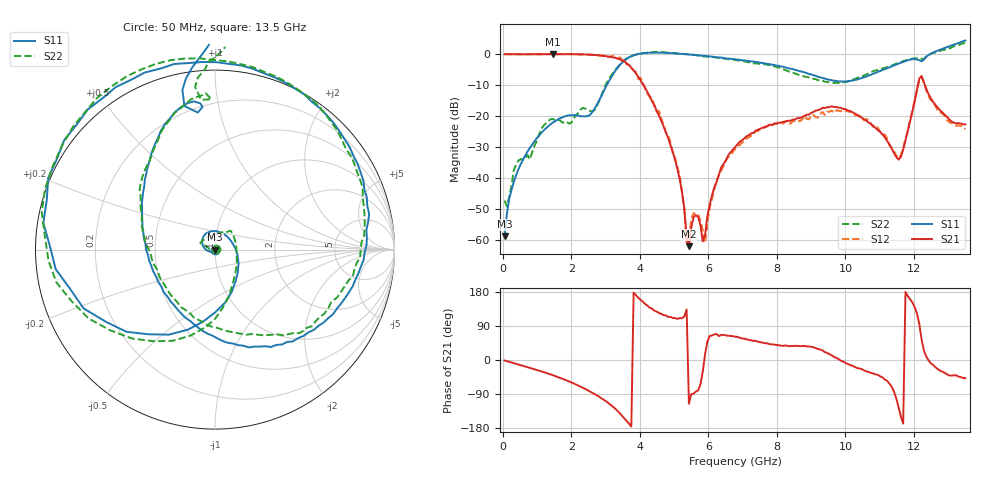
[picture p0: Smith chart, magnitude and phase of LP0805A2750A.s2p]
! AVX THIN FILM OPERATION
! 0805 Size Low Pass Filter P/N  LP0805A2750AWTR
! Network Analyzer HP8720ES.07.64: Feb 23, 2000 Serial No. US39172382
! Hewlett-Packard
!  2 Feb 2003  05:01:14
! Frequency  S11  S21  S12  S22
# HZ  S  DB R  50
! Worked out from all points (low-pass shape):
!   201 points, 50 MHz to 13.5 GHz, reference 50 ohm
!   highest |S21| = 0.02 dB at 1.462 GHz (marker M1); lowest = -61.9 dB at 5.43 GHz (marker M2)
!   |S21| within 3 dB of the highest: start of sweep to 3.609 GHz
!   lowest |S11| = -58.7 dB at 50 MHz (marker M3), VSWR 1.00, Z = 50 - j0.109 ohm
!   |S11| at or under -10 dB: start of sweep to 3.03 GHz
!   |S22| runs from -49.0 to 3.7 dB; largest |S21 - S12| = 0.05
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5e7  -58.67 -68.9  -0.00 -1.3  -0.03 -1.3  -47.20 19.2
4.535e8  -37.09 -128.4  -0.02 -11.8  -0.04 -12.0  -34.28 -122.5
1.46225e9  -21.98 153.4  0.02 -40.2  0.04 -40.6  -20.87 153.6
2.3365e9  -20.02 62.9  -0.07 -73.3  -0.03 -73.1  -17.30 50.4
2.94175e9  -11.92 -68.5  -0.60 -104.8  -0.42 -104.5  -11.38 -73.1
3.4125e9  -3.44 -137.1  -1.57 -140.5  -1.07 -141.2  -3.38 -133.0
3.88325e9  -0.20 163.6  -6.24 171.3  -5.82 169.0  -0.11 167.7
4.55575e9  0.45 106.6  -19.80 124.2  -18.33 125.8  0.72 107.6
5.161e9  0.13 70.7  -40.19 110.5  -39.53 105.5  0.19 70.5
5.36275e9  -0.03 60.0  -59.10 133.4  -60.76 135.9  -0.01 59.9
5.43e9  -0.14 56.6  -61.87 -115.6  -59.43 -114.7  -0.05 56.5
5.699e9  -0.38 43.6  -52.45 -80.4  -51.57 -86.4  -0.43 44.1
5.90075e9  -0.61 34.2  -58.28 15.3  -60.80 -15.3  -0.73 34.3
6.237e9  -0.97 19.0  -41.17 68.5  -40.80 66.0  -1.17 19.7
6.775e9  -1.62 -3.9  -29.97 61.5  -30.59 59.8  -1.84 -3.1
9.0615e9  -6.76 -98.4  -18.59 33.7  -19.60 24.9  -7.95 -104.2
1.128075e10  -4.26 126.6  -29.01 -62.3  -29.31 -65.7  -3.95 123.6
1.1617e10  -2.78 114.6  -33.09 -149.4  -32.50 -146.1  -2.52 111.4
1.208775e10  -1.74 95.7  -11.39 122.2  -11.52 124.9  -1.26 94.2
1.222225e10  -2.27 97.2  -7.03 54.1  -7.46 58.2  -1.54 91.3
1.249125e10  0.20 97.1  -14.23 -8.7  -14.77 -1.1  0.08 93.1
1.35e10  4.41 81.5  -22.64 -48.1  -24.09 -43.3  3.66 80.6
